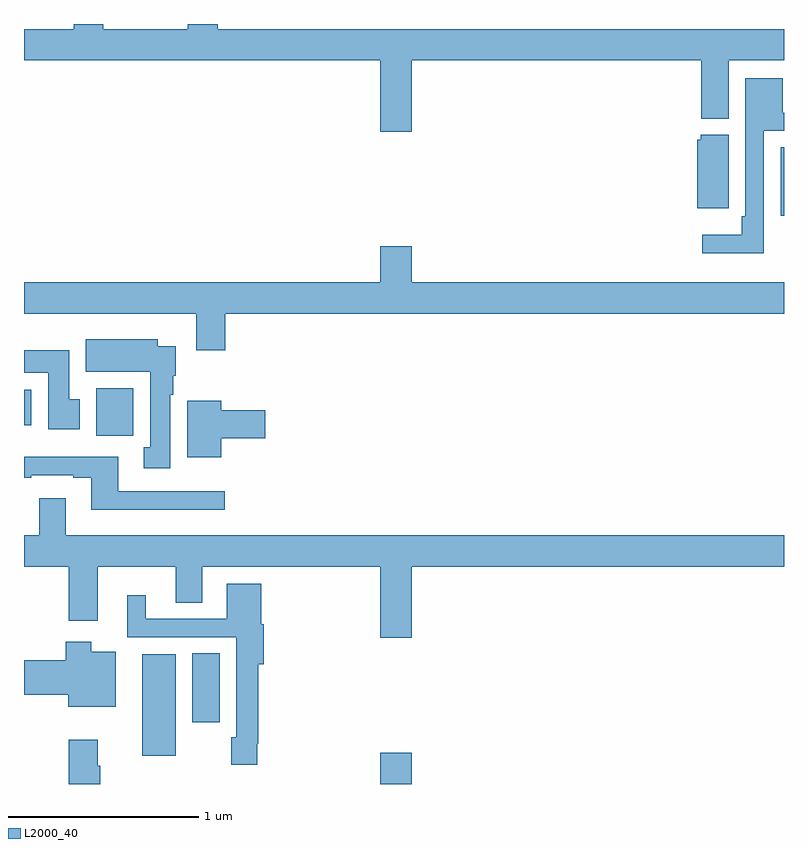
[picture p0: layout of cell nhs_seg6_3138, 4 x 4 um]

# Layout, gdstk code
import gdstk
lib = gdstk.Library(unit=1e-6, precision=1e-09)
def R(c, l, rs):  # rectangles x0, y0, x1, y1
    for r in rs: c.add(gdstk.rectangle(r[:2], r[2:], *l))
def P(c, l, *ps):  # polygons
    for p in ps: c.add(gdstk.Polygon(p, *l))
L2000_40 = (2000, 40)

nhs_seg6_3138 = lib.new_cell('nhs_seg6_3138')
R(nhs_seg6_3138, L2000_40, [(296.876,971.5,297.04,971.665), (295.622,971.648,295.798,972.184), (295.886,971.826,296.029,972.188), (295.379,973.332,295.575,973.582), (295,973.388,295.039,973.576), (298.982,974.49,299,974.852)])
P(nhs_seg6_3138, L2000_40, [(297.04,975.308),(298.565,975.308),(298.565,975.002),(298.708,975.002),(298.708,975.308),(299,975.308),(299,975.472),(296.021,975.472),(296.021,975.5),(295.861,975.5),(295.861,975.472),(295.416,975.472),(295.416,975.5),(295.261,975.5),(295.261,975.472),(295,975.472),(295,975.308),(296.876,975.308),(296.876,974.934),(297.04,974.934)],
  [(298.893,974.937),(299,974.937),(299,975.033),(298.993,975.033),(298.993,975.214),(298.797,975.214),(298.797,974.488),(298.777,974.488),(298.777,974.392),(298.569,974.392),(298.569,974.294),(298.893,974.294)],
  [(298.708,974.917),(298.563,974.917),(298.563,974.892),(298.544,974.892),(298.544,974.531),(298.708,974.531)],
  [(296.06,973.976),(299,973.976),(299,974.14),(297.04,974.14),(297.04,974.329),(296.876,974.329),(296.876,974.14),(295,974.14),(295,973.976),(295.907,973.976),(295.907,973.782),(296.06,973.782)],
  [(295.771,973.55),(295.786,973.55),(295.786,973.65),(295.798,973.65),(295.798,973.804),(295.705,973.804),(295.705,973.84),(295.325,973.84),(295.325,973.67),(295.664,973.67),(295.664,973.273),(295.631,973.273),(295.631,973.161),(295.771,973.161)],
  [(295.294,973.524),(295.237,973.524),(295.237,973.782),(295,973.782),(295,973.664),(295.127,973.664),(295.127,973.368),(295.294,973.368)],
  [(296.038,973.319),(296.269,973.319),(296.269,973.466),(296.038,973.466),(296.038,973.516),(295.859,973.516),(295.859,973.22),(296.038,973.22)],
  [(296.056,973.041),(295.495,973.041),(295.495,973.222),(295,973.222),(295,973.113),(295.039,973.113),(295.039,973.125),(295.259,973.125),(295.259,973.113),(295.355,973.113),(295.355,972.944),(296.056,972.944)],
  [(297.04,972.644),(299,972.644),(299,972.808),(295.219,972.808),(295.219,973.003),(295.079,973.003),(295.079,972.808),(295,972.808),(295,972.644),(295.235,972.644),(295.235,972.36),(295.387,972.36),(295.387,972.644),(295.799,972.644),(295.799,972.454),(295.939,972.454),(295.939,972.644),(296.876,972.644),(296.876,972.27),(297.04,972.27)],
  [(296.227,971.713),(296.234,971.713),(296.234,972.131),(296.261,972.131),(296.261,972.342),(296.248,972.342),(296.248,972.553),(296.066,972.553),(296.066,972.369),(295.642,972.369),(295.642,972.493),(295.544,972.493),(295.544,972.273),(296.118,972.273),(296.118,971.745),(296.092,971.745),(296.092,971.601),(296.227,971.601)],
  [(295.483,972.196),(295.354,972.196),(295.354,972.25),(295.22,972.25),(295.22,972.152),(295.002,972.152),(295.002,971.969),(295.232,971.969),(295.232,971.906),(295.483,971.906)],
  [(295.4,971.597),(295.387,971.597),(295.387,971.734),(295.235,971.734),(295.235,971.5),(295.4,971.5)])

lib.write_gds('nhs_seg6_3138.gds')
